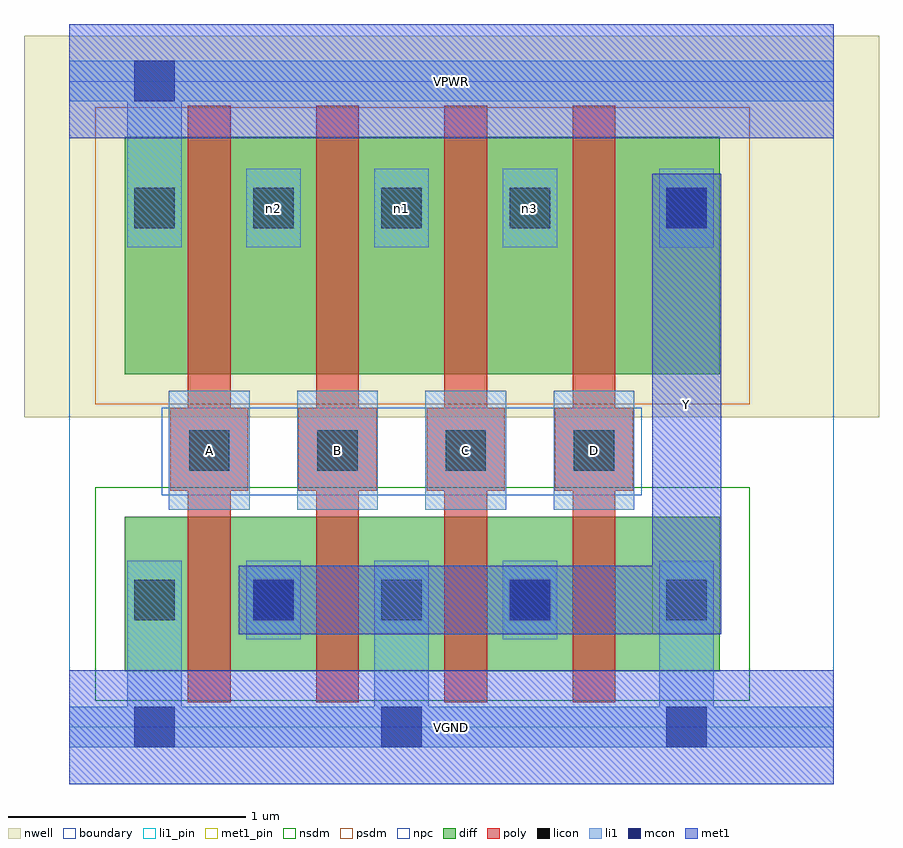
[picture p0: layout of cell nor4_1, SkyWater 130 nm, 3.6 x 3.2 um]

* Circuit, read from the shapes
.subckt nor4_1 A B C D VGND VPWR Y n1 n2 n3
XM1 Y A VGND VSUBS sky130_fd_pr__nfet_01v8 w=0.65 l=0.18
XM2 VGND B Y VSUBS sky130_fd_pr__nfet_01v8 w=0.65 l=0.18
XM3 Y C VGND VSUBS sky130_fd_pr__nfet_01v8 w=0.65 l=0.18
XM4 VGND D Y VSUBS sky130_fd_pr__nfet_01v8 w=0.65 l=0.18
XM5 n2 A VPWR n4 sky130_fd_pr__pfet_01v8 w=1 l=0.18
XM6 n1 B n2 n4 sky130_fd_pr__pfet_01v8 w=1 l=0.18
XM7 n3 C n1 n4 sky130_fd_pr__pfet_01v8 w=1 l=0.18
XM8 Y D n3 n4 sky130_fd_pr__pfet_01v8 w=1 l=0.18
.ends

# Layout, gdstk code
import gdstk
lib = gdstk.Library(unit=1e-6, precision=1e-09)
def R(c, l, rs):  # rectangles x0, y0, x1, y1
    for r in rs: c.add(gdstk.rectangle(r[:2], r[2:], *l))
def A(c, l, x, y, w, h, nx, ny, dx, dy):  # array of equal rectangles
    R(c, l, [(x+i*dx, y+j*dy, x+i*dx+w, y+j*dy+h) for i in range(nx) for j in range(ny)])
nwell = (64, 20)
diff = (65, 20)
poly = (66, 20)
licon = (66, 44)
li1_pin = (67, 16)
li1 = (67, 20)
mcon = (67, 44)
met1_pin = (68, 16)
met1 = (68, 20)
nsdm = (93, 44)
psdm = (94, 20)
npc = (95, 20)
boundary = (235, 4)

nor4_1 = lib.new_cell('nor4_1')
R(nor4_1, nwell, [(-0.19,1.305,3.41,2.91), (0,1.305,3.22,2.91)])
R(nor4_1, diff, [(0.235,0.235,2.74,0.885), (0.235,1.485,2.74,2.485)])
A(nor4_1, poly, 0.5, 0.105, 0.18, 2.51, 4, 1, 0.54, 0)
A(nor4_1, poly, 0.425, 0.995, 0.33, 0.35, 4, 1, 0.54, 0)
A(nor4_1, licon, 0.775, 0.45, 0.17, 0.17, 3, 2, 0.54, 1.65)
A(nor4_1, licon, 0.505, 1.08, 0.17, 0.17, 4, 1, 0.54, 0)
R(nor4_1, licon, [(0.275,0.45,0.445,0.62), (2.515,0.45,2.685,0.62), (0.275,2.1,0.445,2.27), (2.515,2.1,2.685,2.27)])
A(nor4_1, li1_pin, 0.42, 0.915, 0.34, 0.5, 4, 1, 0.54, 0)
A(nor4_1, li1, 0.42, 0.915, 0.34, 0.5, 4, 1, 0.54, 0)
A(nor4_1, li1, 0.745, 2.02, 0.23, 0.33, 3, 1, 0.54, 0)
R(nor4_1, li1, [(0,-0.085,3.22,0.085), (0.245,-0.085,0.475,0.7), (1.285,-0.085,1.515,0.7), (2.485,-0.085,2.715,0.7), (0.745,0.37,0.975,0.7), (1.825,0.37,2.055,0.7), (0.245,2.02,0.475,2.805), (2.485,2.02,2.715,2.35), (0,2.635,3.22,2.805)])
R(nor4_1, mcon, [(0.275,-0.085,0.445,0.085), (1.315,-0.085,1.485,0.085), (2.515,-0.085,2.685,0.085), (0.775,0.45,0.945,0.62), (1.855,0.45,2.025,0.62), (2.515,2.1,2.685,2.27), (0.275,2.635,0.445,2.805)])
R(nor4_1, met1_pin, [(0,-0.24,3.22,0.24), (2.455,0.39,2.745,2.33), (0,2.48,3.22,2.96)])
R(nor4_1, met1, [(0,-0.24,3.22,0.24), (0.715,0.39,2.745,0.68), (2.455,0.39,2.745,2.33), (0,2.48,3.22,2.96)])
R(nor4_1, nsdm, [(0.11,0.11,2.865,1.01)])
R(nor4_1, psdm, [(0.11,1.36,2.865,2.61)])
R(nor4_1, npc, [(0.39,0.975,2.41,1.345)])
R(nor4_1, boundary, [(0,0,3.22,2.72)])
nor4_1.add(gdstk.Label('A', (0.59,1.165), layer=67, texttype=5))
nor4_1.add(gdstk.Label('B', (1.13,1.165), layer=67, texttype=5))
nor4_1.add(gdstk.Label('C', (1.67,1.165), layer=67, texttype=5))
nor4_1.add(gdstk.Label('D', (2.21,1.165), layer=67, texttype=5))
nor4_1.add(gdstk.Label('n2', (0.86,2.185), layer=67, texttype=5))
nor4_1.add(gdstk.Label('n1', (1.4,2.185), layer=67, texttype=5))
nor4_1.add(gdstk.Label('n3', (1.94,2.185), layer=67, texttype=5))
nor4_1.add(gdstk.Label('Y', (2.6,1.36), layer=68, texttype=5))
nor4_1.add(gdstk.Label('VPWR', (1.61,2.72), layer=68, texttype=5))
nor4_1.add(gdstk.Label('VGND', (1.61,0), layer=68, texttype=5))
nor4_1.add(gdstk.Label('A', (0.59,1.165), layer=67, texttype=16))
nor4_1.add(gdstk.Label('B', (1.13,1.165), layer=67, texttype=16))
nor4_1.add(gdstk.Label('C', (1.67,1.165), layer=67, texttype=16))
nor4_1.add(gdstk.Label('D', (2.21,1.165), layer=67, texttype=16))
nor4_1.add(gdstk.Label('Y', (2.6,1.36), layer=68, texttype=16))
nor4_1.add(gdstk.Label('VPWR', (1.61,2.72), layer=68, texttype=16))
nor4_1.add(gdstk.Label('VGND', (1.61,0), layer=68, texttype=16))

lib.write_gds('nor4_1.gds')
